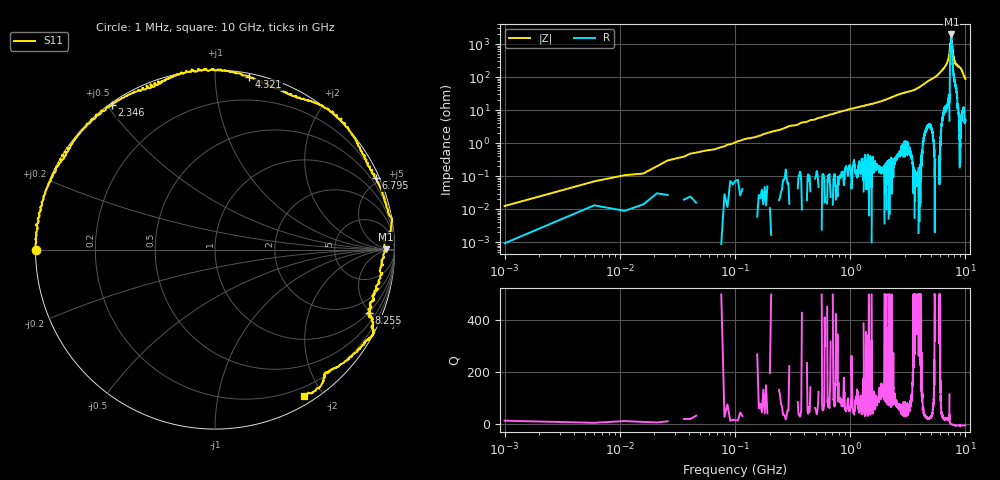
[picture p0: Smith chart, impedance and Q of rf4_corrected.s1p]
! Created with skrf 1.8.0 (http://scikit-rf.org).
# GHz S RI R 50.0
!freq ReS11 ImS11
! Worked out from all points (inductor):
!   2001 points, 1 MHz to 10 GHz, reference 50 ohm
!   read as one part to ground: L = 1.63 nH near 50.99 MHz
!   highest |Z| = 1.96 kohm at 7.55 GHz (marker M1)
!   self-resonance near 7.553 GHz
!   S11 on the Smith chart (normalised r, x): 1 MHz: 0.00, +0.00; 2.346 GHz: 0.01, +0.51; 4.321 GHz: 0.02, +1.22; 6.795 GHz: 0.22, +4.71; 8.255 GHz: 0.96, -4.87; 10 GHz: 0.09, -1.77
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0.001  -1 0.000502
0.5859415  -0.9631 0.2519
1.250875  -0.8646 0.4825
1.840816  -0.7535 0.6491
2.345766  -0.5764 0.805
2.50075  -0.5179 0.8439
3.525647  -0.213 0.9739
3.750625  -0.1295 1.001
4.070593  0.0417 0.9947
4.320568  0.1902 0.9628
4.675533  0.3578 0.8933
5.0005  0.4719 0.8462
5.575443  0.6446 0.7669
6.250375  0.8077 0.5625
6.79532  0.8973 0.3977
7.105289  0.9444 0.2732
7.29527  0.9879 0.1608
7.365264  0.9553 0.089
7.50025  0.945 0.0363
7.550245  0.9503 0.00143
7.855214  0.9084 -0.1927
8.255175  0.8582 -0.3535
8.750125  0.88 -0.4449
8.985102  0.8766 -0.4776
9.270073  0.8196 -0.5318
9.745026  0.6101 -0.6935
9.885011  0.5561 -0.7874
10  0.4944 -0.8184
